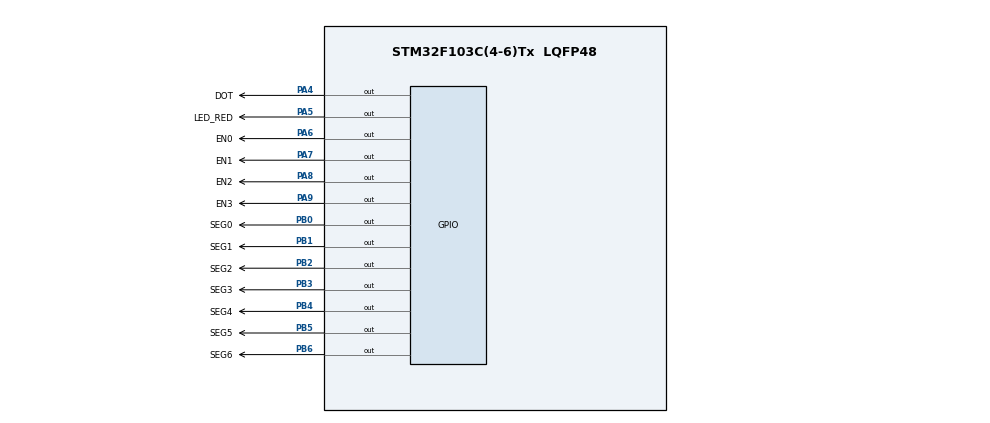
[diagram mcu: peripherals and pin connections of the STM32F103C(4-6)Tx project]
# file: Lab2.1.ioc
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Mcu.Family=STM32F1
Mcu.Name=STM32F103C(4-6)Tx
Mcu.Package=LQFP48
NVIC.PriorityGroup=NVIC_PRIORITYGROUP_4
NVIC.TIM2_IRQn=true\:0\:0\:false\:false\:true\:true\:true
PA4.GPIO_Label=DOT
PA4.Signal=GPIO_Output
PA5.GPIO_Label=LED_RED
PA5.Signal=GPIO_Output
PA6.GPIO_Label=EN0
PA6.Signal=GPIO_Output
PA7.GPIO_Label=EN1
PA7.Signal=GPIO_Output
PA8.GPIO_Label=EN2
PA8.Signal=GPIO_Output
PA9.GPIO_Label=EN3
PA9.Signal=GPIO_Output
PB0.GPIO_Label=SEG0
PB0.Signal=GPIO_Output
PB1.GPIO_Label=SEG1
PB1.Signal=GPIO_Output
PB2.GPIO_Label=SEG2
PB2.Signal=GPIO_Output
PB3.GPIO_Label=SEG3
PB3.Signal=GPIO_Output
PB4.GPIO_Label=SEG4
PB4.Signal=GPIO_Output
PB5.GPIO_Label=SEG5
PB5.Signal=GPIO_Output
PB6.GPIO_Label=SEG6
PB6.Signal=GPIO_Output
ProjectManager.HeapSize=0x200
ProjectManager.StackSize=0x400
ProjectManager.TargetToolchain=STM32CubeIDE
RCC.APB1Freq_Value=8000000
RCC.APB2Freq_Value=8000000
TIM2.Period=10
TIM2.Prescaler=7999
VP_SYS_VS_ND.Mode=No_Debug
VP_TIM2_VS_ClockSourceINT.Mode=Internal
board=custom

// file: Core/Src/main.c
/* USER CODE BEGIN Header */
/**
  ******************************************************************************
  * @file           : main.c
  * @brief          : Main program body
  ******************************************************************************
  * @attention
  *
  * <h2><center>&copy; Copyright (c) 2022 STMicroelectronics.
  * All rights reserved.</center></h2>
  *
  * This software component is licensed by ST under BSD 3-Clause license,
  * the "License"; You may not use this file except in compliance with the
  * License. You may obtain a copy of the License at:
  *                        opensource.org/licenses/BSD-3-Clause
  *
  ******************************************************************************
  */
/* USER CODE END Header */
#include "main.h"

/* USER CODE BEGIN Includes */
#include "timer.h"
#include "led7display.h"
/* USER CODE END Includes */

TIM_HandleTypeDef htim2;

void SystemClock_Config(void);
static void MX_TIM2_Init(void);
static void MX_GPIO_Init(void);

int main(void)
{

  /* MCU Configuration--------------------------------------------------------*/

  /* Reset of all peripherals, Initializes the Flash interface and the Systick. */
  HAL_Init();

  /* Configure the system clock */
  SystemClock_Config();

  /* Initialize all configured peripherals */
  MX_TIM2_Init();
  MX_GPIO_Init();
  /* USER CODE BEGIN 2 */
  HAL_TIM_Base_Start_IT (& htim2 );
  /* USER CODE END 2 */

  /* Infinite loop */
  /* USER CODE BEGIN WHILE */
  settimer_ex4_0(1000);
  settimer_ex4_1(500);
  while (1)
  {
	  if (timerflag0 == 1){
		  HAL_GPIO_TogglePin(DOT_GPIO_Port, DOT_Pin);
		  settimer_ex4_0(1000);
	  }
	  if (timerflag1 == 1){
		  led_7_seg_disp(LED_BUFFER[led]);
			HAL_GPIO_WritePin(GPIOA, GPIO_PIN_6 << led, RESET);
			HAL_GPIO_WritePin(GPIOA, LED_OFF[led], SET);
			if (++led > 3) led = 0;
			settimer_ex4_1(500);
	  }
    /* USER CODE END WHILE */

  }
}

void SystemClock_Config(void)
{
  RCC_OscInitTypeDef RCC_OscInitStruct = {0};
  RCC_ClkInitTypeDef RCC_ClkInitStruct = {0};

  /** Initializes the RCC Oscillators according to the specified parameters
  * in the RCC_OscInitTypeDef structure.
  */
  RCC_OscInitStruct.OscillatorType = RCC_OSCILLATORTYPE_HSI;
  RCC_OscInitStruct.HSIState = RCC_HSI_ON;
  RCC_OscInitStruct.HSICalibrationValue = RCC_HSICALIBRATION_DEFAULT;
  RCC_OscInitStruct.PLL.PLLState = RCC_PLL_NONE;
  if (HAL_RCC_OscConfig(&RCC_OscInitStruct) != HAL_OK)
  {
    Error_Handler();
  }
  /** Initializes the CPU, AHB and APB buses clocks
  */
  RCC_ClkInitStruct.ClockType = RCC_CLOCKTYPE_HCLK|RCC_CLOCKTYPE_SYSCLK
                              |RCC_CLOCKTYPE_PCLK1|RCC_CLOCKTYPE_PCLK2;
  RCC_ClkInitStruct.SYSCLKSource = RCC_SYSCLKSOURCE_HSI;
  RCC_ClkInitStruct.AHBCLKDivider = RCC_SYSCLK_DIV1;
  RCC_ClkInitStruct.APB1CLKDivider = RCC_HCLK_DIV1;
  RCC_ClkInitStruct.APB2CLKDivider = RCC_HCLK_DIV1;

  if (HAL_RCC_ClockConfig(&RCC_ClkInitStruct, FLASH_LATENCY_0) != HAL_OK)
  {
    Error_Handler();
  }
}

static void MX_TIM2_Init(void)
{

  TIM_ClockConfigTypeDef sClockSourceConfig = {0};
  TIM_MasterConfigTypeDef sMasterConfig = {0};

  htim2.Instance = TIM2;
  htim2.Init.Prescaler = 7999;
  htim2.Init.CounterMode = TIM_COUNTERMODE_UP;
  htim2.Init.Period = 10;
  htim2.Init.ClockDivision = TIM_CLOCKDIVISION_DIV1;
  htim2.Init.AutoReloadPreload = TIM_AUTORELOAD_PRELOAD_DISABLE;
  if (HAL_TIM_Base_Init(&htim2) != HAL_OK)
  {
    Error_Handler();
  }
  sClockSourceConfig.ClockSource = TIM_CLOCKSOURCE_INTERNAL;
  if (HAL_TIM_ConfigClockSource(&htim2, &sClockSourceConfig) != HAL_OK)
  {
    Error_Handler();
  }
  sMasterConfig.MasterOutputTrigger = TIM_TRGO_RESET;
  sMasterConfig.MasterSlaveMode = TIM_MASTERSLAVEMODE_DISABLE;
  if (HAL_TIMEx_MasterConfigSynchronization(&htim2, &sMasterConfig) != HAL_OK)
  {
    Error_Handler();
  }

}

static void MX_GPIO_Init(void)
{
  GPIO_InitTypeDef GPIO_InitStruct = {0};

  /* GPIO Ports Clock Enable */
  __HAL_RCC_GPIOA_CLK_ENABLE();
  __HAL_RCC_GPIOB_CLK_ENABLE();

  /*Configure GPIO pin Output Level */
  HAL_GPIO_WritePin(GPIOA, DOT_Pin|LED_RED_Pin|EN0_Pin|EN1_Pin
                          |EN2_Pin|EN3_Pin, GPIO_PIN_RESET);

  /*Configure GPIO pin Output Level */
  HAL_GPIO_WritePin(GPIOB, SEG0_Pin|SEG1_Pin|SEG2_Pin|SEG3_Pin
                          |SEG4_Pin|SEG5_Pin|SEG6_Pin, GPIO_PIN_RESET);

  /*Configure GPIO pins : DOT_Pin LED_RED_Pin EN0_Pin EN1_Pin
                           EN2_Pin EN3_Pin */
  GPIO_InitStruct.Pin = DOT_Pin|LED_RED_Pin|EN0_Pin|EN1_Pin
                          |EN2_Pin|EN3_Pin;
  GPIO_InitStruct.Mode = GPIO_MODE_OUTPUT_PP;
  GPIO_InitStruct.Pull = GPIO_NOPULL;
  GPIO_InitStruct.Speed = GPIO_SPEED_FREQ_LOW;
  HAL_GPIO_Init(GPIOA, &GPIO_InitStruct);

  /*Configure GPIO pins : SEG0_Pin SEG1_Pin SEG2_Pin SEG3_Pin
                           SEG4_Pin SEG5_Pin SEG6_Pin */
  GPIO_InitStruct.Pin = SEG0_Pin|SEG1_Pin|SEG2_Pin|SEG3_Pin
                          |SEG4_Pin|SEG5_Pin|SEG6_Pin;
  GPIO_InitStruct.Mode = GPIO_MODE_OUTPUT_PP;
  GPIO_InitStruct.Pull = GPIO_NOPULL;
  GPIO_InitStruct.Speed = GPIO_SPEED_FREQ_LOW;
  HAL_GPIO_Init(GPIOB, &GPIO_InitStruct);

}

/* USER CODE BEGIN 4 */
void HAL_TIM_PeriodElapsedCallback(TIM_HandleTypeDef *htim)
{
	timerRun_ex4();
}

/* USER CODE END 4 */

void Error_Handler(void)
{
  __disable_irq();
  while (1)
  {
  }
}

/************************ (C) COPYRIGHT STMicroelectronics *****END OF FILE****/
